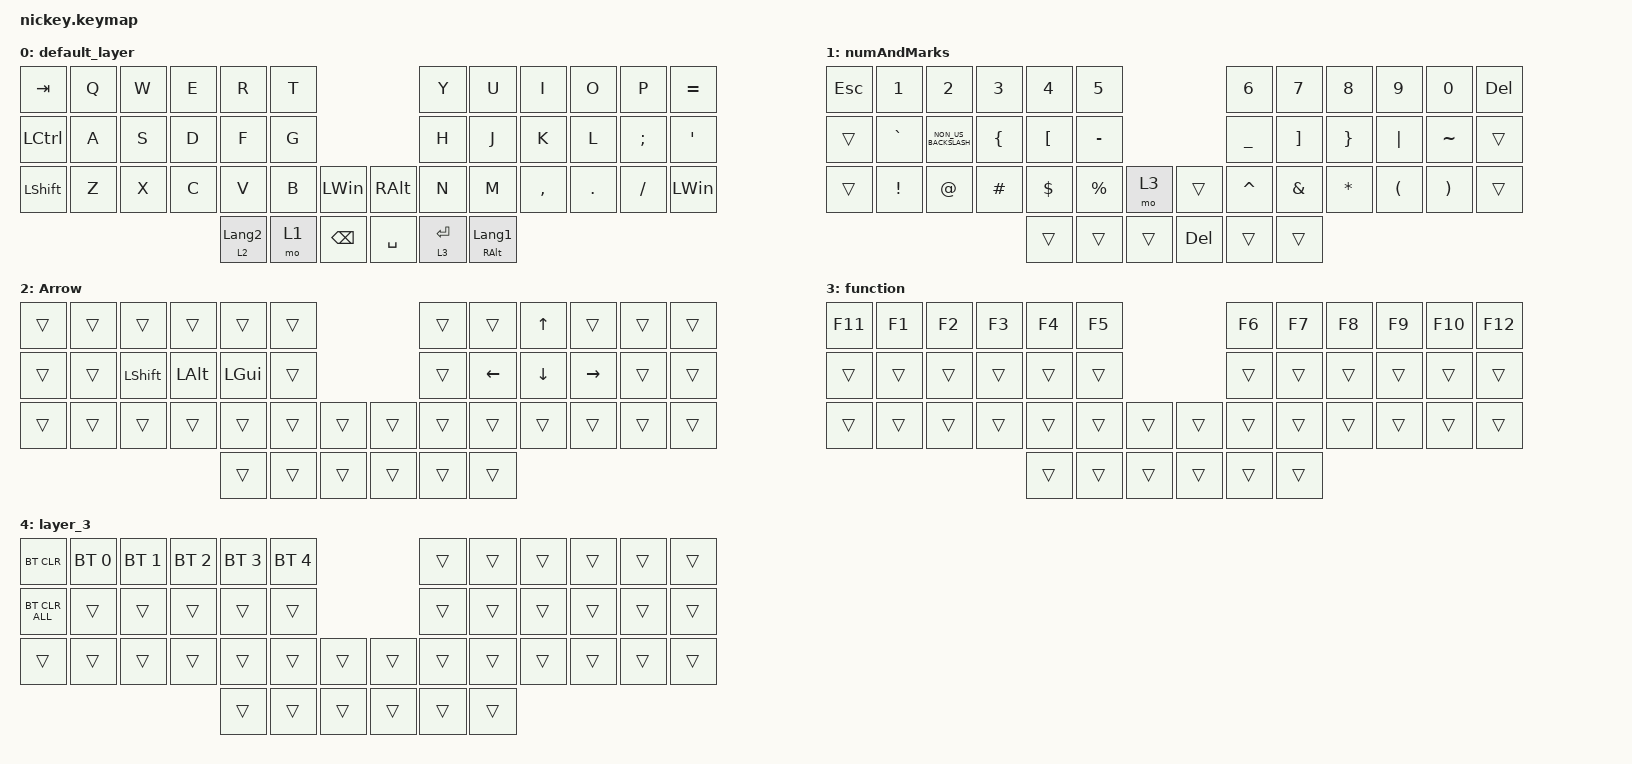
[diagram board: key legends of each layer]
#include <input/processors.dtsi>
#include <dt-bindings/zmk/input_transform.h>
#include <zephyr/dt-bindings/input/input-event-codes.h>
#include <behaviors.dtsi>
#include <dt-bindings/zmk/bt.h>
#include <dt-bindings/zmk/keys.h>
#include <dt-bindings/zmk/pointing.h>

&mt {
    flavor = "balanced";
    quick-tap-ms = <0>;
};

&lt {
    quick-tap-ms = <300>;
    flavor = "balanced";
};

/ {
    combos { compatible = "zmk,combos"; };

    macros {
        to_layer_0: to_layer_0 {
            compatible = "zmk,behavior-macro-one-param";
            #binding-cells = <1>;
            bindings = <&to 0 &macro_param_1to1 &kp MACRO_PLACEHOLDER>;
            label = "TO_LAYER_0";
        };
    };

    behaviors {
        lt_to_layer_0: lt_to_layer_0 {
            compatible = "zmk,behavior-hold-tap";
            label = "LAYER_TAP_TO_0";
            bindings = <&mo>, <&to_layer_0>;

            #binding-cells = <2>;
            tapping-term-ms = <200>;
        };

        scroll_up_down: mouse_wheel_up_down {
            compatible = "zmk,behavior-sensor-rotate";
            #sensor-binding-cells = <0>;
            bindings = <&msc SCRL_DOWN>, <&msc SCRL_UP>;

            tap-ms = <20>;
        };

        scroll_right_left: mouse_wheel_right_left {
            compatible = "zmk,behavior-sensor-rotate";
            #sensor-binding-cells = <0>;
            bindings = <&msc SCRL_LEFT>, <&msc SCRL_RIGHT>;

            tap-ms = <20>;
        };
    };

    keymap {
        compatible = "zmk,keymap";

        default_layer {
            bindings = <
&kp TAB    &kp Q  &kp W  &kp E  &kp R             &kp T                              &kp Y        &kp U                &kp I      &kp O    &kp P     &kp EQUAL
&kp LCTRL  &kp A  &kp S  &kp D  &kp F             &kp G                              &kp H        &kp J                &kp K      &kp L    &kp SEMI  &kp SINGLE_QUOTE
&kp LSHFT  &kp Z  &kp X  &kp C  &kp V             &kp B  &kp LEFT_WIN     &kp RALT   &kp N        &kp M                &kp COMMA  &kp DOT  &kp FSLH  &kp LEFT_WIN
                                &lt 2 LANGUAGE_2  &mo 1  &kp BACKSPACE    &kp SPACE  &lt 3 ENTER  &mt RALT LANGUAGE_1
            >;
        };

        numAndMarks {
            bindings = <
&kp ESCAPE  &kp NUMBER_1     &kp NUMBER_2          &kp NUMBER_3    &kp NUMBER_4      &kp NUMBER_5                        &kp NUMBER_6    &kp N7             &kp N8           &kp N9                &kp N0                 &kp DELETE
&trans      &kp GRAVE        &kp NON_US_BACKSLASH  &kp LEFT_BRACE  &kp LEFT_BRACKET  &kp MINUS                           &kp UNDERSCORE  &kp RIGHT_BRACKET  &kp RIGHT_BRACE  &kp PIPE              &kp TILDE              &trans
&trans      &kp EXCLAMATION  &kp AT_SIGN           &kp HASH        &kp DOLLAR        &kp PERCENT   &mo 3     &trans      &kp CARET       &kp AMPERSAND      &kp ASTERISK     &kp LEFT_PARENTHESIS  &kp RIGHT_PARENTHESIS  &trans
                                                                   &trans            &trans        &trans    &kp DELETE  &trans          &trans
            >;
        };

        Arrow {
            bindings = <
&trans  &trans  &trans          &trans    &trans        &trans                    &trans  &trans          &kp UP_ARROW    &trans           &trans  &trans
&trans  &trans  &kp LEFT_SHIFT  &kp LALT  &kp LEFT_GUI  &trans                    &trans  &kp LEFT_ARROW  &kp DOWN_ARROW  &kp RIGHT_ARROW  &trans  &trans
&trans  &trans  &trans          &trans    &trans        &trans  &trans    &trans  &trans  &trans          &trans          &trans           &trans  &trans
                                          &trans        &trans  &trans    &trans  &trans  &trans
            >;
        };

        function {
            bindings = <
&kp F11  &kp F1  &kp F2  &kp F3  &kp F4  &kp F5                    &kp F6  &kp F7  &kp F8  &kp F9  &kp F10  &kp F12
&trans   &trans  &trans  &trans  &trans  &trans                    &trans  &trans  &trans  &trans  &trans   &trans
&trans   &trans  &trans  &trans  &trans  &trans  &trans    &trans  &trans  &trans  &trans  &trans  &trans   &trans
                                 &trans  &trans  &trans    &trans  &trans  &trans
            >;
        };

        layer_3 {
            bindings = <
&bt BT_CLR      &bt BT_SEL 0  &bt BT_SEL 1  &bt BT_SEL 2  &bt BT_SEL 3  &bt BT_SEL 4                    &trans  &trans  &trans  &trans  &trans  &trans
&bt BT_CLR_ALL  &trans        &trans        &trans        &trans        &trans                          &trans  &trans  &trans  &trans  &trans  &trans
&trans          &trans        &trans        &trans        &trans        &trans        &trans    &trans  &trans  &trans  &trans  &trans  &trans  &trans
                                                          &trans        &trans        &trans    &trans  &trans  &trans
            >;
        };
    };
};
